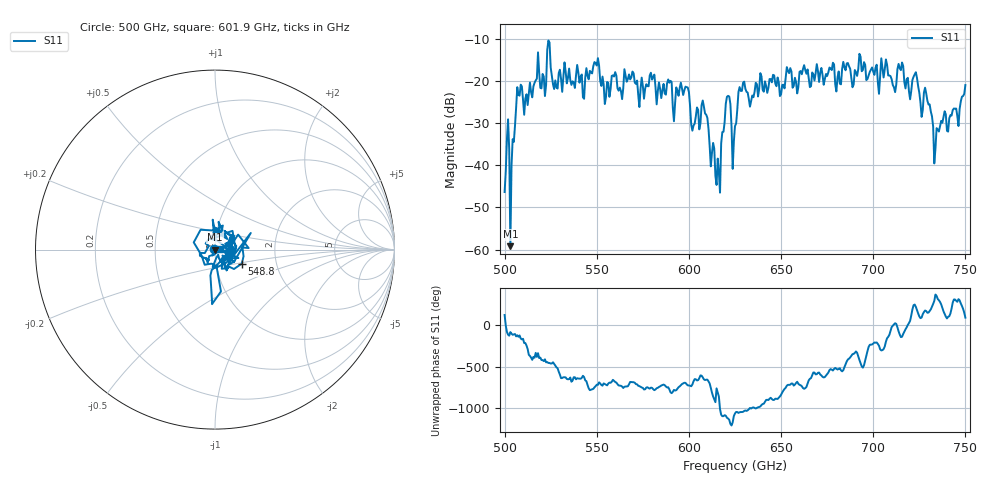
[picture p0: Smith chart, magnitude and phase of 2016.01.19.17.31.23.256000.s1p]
!Created with skrf (http://scikit-rf.org).
# GHz S RI R 50.0
!freq ReS11 ImS11
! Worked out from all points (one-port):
!   401 points, 500 GHz to 750 GHz, reference 50 ohm
!   lowest |S11| = -59.2 dB at 503.1 GHz (marker M1), VSWR 1.00, Z = 50 - j0.108 ohm
!   |S11| at or under -10 dB: start of sweep to end of sweep
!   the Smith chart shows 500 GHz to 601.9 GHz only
!   S11 on the Smith chart (normalised r, x): 500 GHz: 0.99, +0.01; 548.8 GHz: 1.33, -0.21; 601.9 GHz: 1.05, +0.01
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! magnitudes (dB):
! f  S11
! 500 GHz  -46.3
! 501.2 GHz  -33.8
! 503.1 GHz  -59.2
! 504.4 GHz  -33.8
! 505.6 GHz  -30.6
! 508.1 GHz  -23.4
! 521.2 GHz  -18.9
! 524.4 GHz  -10.8
! 527.5 GHz  -19.8
! 531.2 GHz  -22.5
! 548.8 GHz  -15.5
! 562.5 GHz  -21.5
! 593.8 GHz  -22.2
! 598.8 GHz  -21.4
! 601.9 GHz  -31.8
! 608.1 GHz  -26.0
! 615.6 GHz  -38.4
! 621.2 GHz  -23.5
! 625 GHz  -30.7
! 628.8 GHz  -22.3
! 656.2 GHz  -21.6
! 687.5 GHz  -17.1
! 711.2 GHz  -21.5
! 715 GHz  -17.4
! 718.8 GHz  -19.2
! 728.8 GHz  -22.9
! 734.4 GHz  -31.2
! 750 GHz  -20.9
